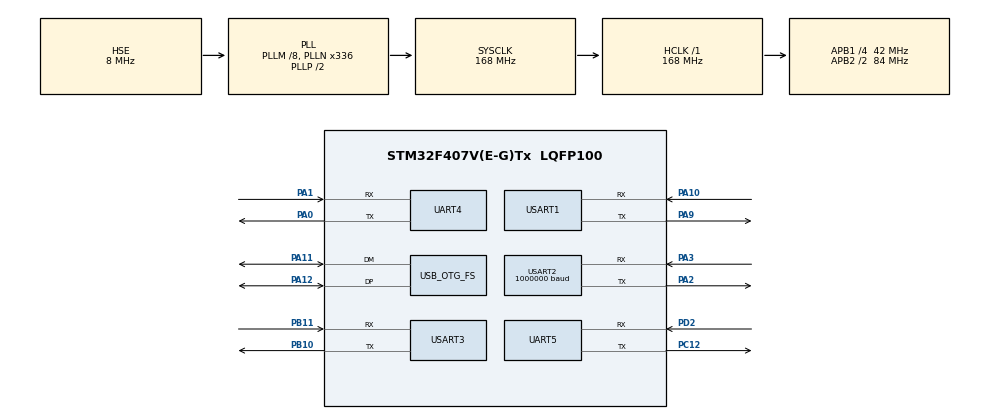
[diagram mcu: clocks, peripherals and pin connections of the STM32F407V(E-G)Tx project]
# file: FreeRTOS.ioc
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Dma.Request0=USART2_RX
Dma.Request1=USART3_RX
Dma.Request2=UART4_RX
Dma.Request3=UART5_RX
Dma.Request4=UART5_TX
Dma.UART4_RX.2.Direction=DMA_PERIPH_TO_MEMORY
Dma.UART4_RX.2.FIFOMode=DMA_FIFOMODE_DISABLE
Dma.UART4_RX.2.Instance=DMA1_Stream2
Dma.UART4_RX.2.MemDataAlignment=DMA_MDATAALIGN_BYTE
Dma.UART4_RX.2.MemInc=DMA_MINC_ENABLE
Dma.UART4_RX.2.Mode=DMA_CIRCULAR
Dma.UART4_RX.2.PeriphDataAlignment=DMA_PDATAALIGN_BYTE
Dma.UART4_RX.2.PeriphInc=DMA_PINC_DISABLE
Dma.UART4_RX.2.Priority=DMA_PRIORITY_HIGH
Dma.UART5_RX.3.Direction=DMA_PERIPH_TO_MEMORY
Dma.UART5_RX.3.FIFOMode=DMA_FIFOMODE_DISABLE
Dma.UART5_RX.3.Instance=DMA1_Stream0
Dma.UART5_RX.3.MemDataAlignment=DMA_MDATAALIGN_BYTE
Dma.UART5_RX.3.MemInc=DMA_MINC_ENABLE
Dma.UART5_RX.3.Mode=DMA_CIRCULAR
Dma.UART5_RX.3.PeriphDataAlignment=DMA_PDATAALIGN_BYTE
Dma.UART5_RX.3.PeriphInc=DMA_PINC_DISABLE
Dma.UART5_RX.3.Priority=DMA_PRIORITY_HIGH
Dma.UART5_TX.4.Direction=DMA_MEMORY_TO_PERIPH
Dma.UART5_TX.4.FIFOMode=DMA_FIFOMODE_DISABLE
Dma.UART5_TX.4.Instance=DMA1_Stream7
Dma.UART5_TX.4.MemDataAlignment=DMA_MDATAALIGN_BYTE
Dma.UART5_TX.4.MemInc=DMA_MINC_ENABLE
Dma.UART5_TX.4.Mode=DMA_CIRCULAR
Dma.UART5_TX.4.PeriphDataAlignment=DMA_PDATAALIGN_BYTE
Dma.UART5_TX.4.PeriphInc=DMA_PINC_DISABLE
Dma.UART5_TX.4.Priority=DMA_PRIORITY_HIGH
Dma.USART2_RX.0.Direction=DMA_PERIPH_TO_MEMORY
Dma.USART2_RX.0.FIFOMode=DMA_FIFOMODE_DISABLE
Dma.USART2_RX.0.Instance=DMA1_Stream5
Dma.USART2_RX.0.MemDataAlignment=DMA_MDATAALIGN_BYTE
Dma.USART2_RX.0.MemInc=DMA_MINC_ENABLE
Dma.USART2_RX.0.Mode=DMA_CIRCULAR
Dma.USART2_RX.0.PeriphDataAlignment=DMA_PDATAALIGN_BYTE
Dma.USART2_RX.0.PeriphInc=DMA_PINC_DISABLE
Dma.USART2_RX.0.Priority=DMA_PRIORITY_HIGH
Dma.USART3_RX.1.Direction=DMA_PERIPH_TO_MEMORY
Dma.USART3_RX.1.FIFOMode=DMA_FIFOMODE_DISABLE
Dma.USART3_RX.1.Instance=DMA1_Stream1
Dma.USART3_RX.1.MemDataAlignment=DMA_MDATAALIGN_BYTE
Dma.USART3_RX.1.MemInc=DMA_MINC_ENABLE
Dma.USART3_RX.1.Mode=DMA_CIRCULAR
Dma.USART3_RX.1.PeriphDataAlignment=DMA_PDATAALIGN_BYTE
Dma.USART3_RX.1.PeriphInc=DMA_PINC_DISABLE
Dma.USART3_RX.1.Priority=DMA_PRIORITY_HIGH
FREERTOS.Mutexes01=ServoUart1Mutex,Dynamic,NULL,Available;ServoUart2Mutex,Dynamic,NULL,Available
FREERTOS.Queues01=CommTxQueue,8,128,1,Dynamic,NULL,NULL;ServoCmdQueue,4,128,1,Dynamic,NULL,NULL
FREERTOS.Tasks01=ServoTask,48,1024,StartServoTask,Default,NULL,Dynamic,NULL,NULL;FeedbackTask,40,512,StartFeedbackTask,Default,NULL,Dynamic,NULL,NULL;CommRxTask,32,512,StartCommRxTask,Default,NULL,Dynamic,NULL,NULL;CommTxTask,24,512,StartCommTxTask,Default,NULL,Dynamic,NULL,NULL
FREERTOS.configTOTAL_HEAP_SIZE=32768
Mcu.Family=STM32F4
Mcu.Name=STM32F407V(E-G)Tx
Mcu.Package=LQFP100
NVIC.DMA1_Stream0_IRQn=true\:5\:0\:false\:false\:true\:true\:false\:true\:true
NVIC.DMA1_Stream1_IRQn=true\:5\:0\:false\:false\:true\:true\:false\:true\:true
NVIC.DMA1_Stream2_IRQn=true\:5\:0\:false\:false\:true\:true\:false\:true\:true
NVIC.DMA1_Stream5_IRQn=true\:5\:0\:false\:false\:true\:true\:false\:true\:true
NVIC.DMA1_Stream7_IRQn=true\:5\:0\:false\:false\:true\:true\:false\:true\:true
NVIC.OTG_FS_IRQn=true\:0\:0\:false\:false\:true\:false\:false\:true\:true
NVIC.PriorityGroup=NVIC_PRIORITYGROUP_4
NVIC.TIM4_IRQn=true\:15\:0\:false\:false\:true\:false\:false\:true\:true
NVIC.TimeBase=TIM4_IRQn
NVIC.TimeBaseIP=TIM4
NVIC.UART4_IRQn=true\:5\:0\:false\:false\:true\:true\:true\:true\:true
NVIC.UART5_IRQn=true\:5\:0\:false\:false\:true\:true\:true\:true\:true
NVIC.USART2_IRQn=true\:5\:0\:false\:false\:true\:true\:true\:true\:true
NVIC.USART3_IRQn=true\:5\:0\:false\:false\:true\:true\:true\:true\:true
PA0-WKUP.Mode=Asynchronous
PA0-WKUP.Signal=UART4_TX
PA1.Mode=Asynchronous
PA1.Signal=UART4_RX
PA10.Mode=Asynchronous
PA10.Signal=USART1_RX
PA11.Mode=Device_Only
PA11.Signal=USB_OTG_FS_DM
PA12.Mode=Device_Only
PA12.Signal=USB_OTG_FS_DP
PA13.Mode=Serial_Wire
PA13.Signal=SYS_JTMS-SWDIO
PA14.Mode=Serial_Wire
PA14.Signal=SYS_JTCK-SWCLK
PA2.Mode=Asynchronous
PA2.Signal=USART2_TX
PA3.Mode=Asynchronous
PA3.Signal=USART2_RX
PA9.Mode=Asynchronous
PA9.Signal=USART1_TX
PB10.Mode=Asynchronous
PB10.Signal=USART3_TX
PB11.Mode=Asynchronous
PB11.Signal=USART3_RX
PC12.Mode=Asynchronous
PC12.Signal=UART5_TX
PD2.Mode=Asynchronous
PD2.Signal=UART5_RX
PH0-OSC_IN.Mode=HSE-External-Oscillator
PH0-OSC_IN.Signal=RCC_OSC_IN
PH1-OSC_OUT.Mode=HSE-External-Oscillator
PH1-OSC_OUT.Signal=RCC_OSC_OUT
ProjectManager.HeapSize=0x200
ProjectManager.StackSize=0x400
ProjectManager.TargetToolchain=MDK-ARM V5.32
RCC.48MHZClocksFreq_Value=48000000
RCC.AHBFreq_Value=168000000
RCC.APB1CLKDivider=RCC_HCLK_DIV4
RCC.APB1Freq_Value=42000000
RCC.APB1TimFreq_Value=84000000
RCC.APB2CLKDivider=RCC_HCLK_DIV2
RCC.APB2Freq_Value=84000000
RCC.APB2TimFreq_Value=168000000
RCC.CortexFreq_Value=168000000
RCC.HCLKFreq_Value=168000000
RCC.HSE_VALUE=8000000
RCC.HSI_VALUE=16000000
RCC.LSE_VALUE=32768
RCC.PLLM=8
RCC.PLLN=336
RCC.PLLQ=7
RCC.SYSCLKFreq_VALUE=168000000
RCC.SYSCLKSource=RCC_SYSCLKSOURCE_PLLCLK
RCC.VCOOutputFreq_Value=336000000
UART4.VirtualMode=Asynchronous
UART5.VirtualMode=Asynchronous
USART1.VirtualMode=VM_ASYNC
USART2.BaudRate=1000000
USART2.VirtualMode=VM_ASYNC
USART3.VirtualMode=VM_ASYNC
USB_DEVICE.CLASS_NAME_FS=CDC
USB_DEVICE.VirtualMode-CDC_FS=Cdc
USB_DEVICE.VirtualModeFS=Cdc_FS
USB_OTG_FS.VirtualMode=Device_Only
VP_FREERTOS_VS_CMSIS_V2.Mode=CMSIS_V2
VP_SYS_VS_tim4.Mode=TIM4
VP_USB_DEVICE_VS_USB_DEVICE_CDC_FS.Mode=CDC_FS
board=custom

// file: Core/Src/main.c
/* USER CODE BEGIN Header */
/**
  ******************************************************************************
  * @file           : main.c
  * @brief          : Main program body
  ******************************************************************************
  * @attention
  *
  * Copyright (c) 2026 STMicroelectronics.
  * All rights reserved.
  *
  * This software is licensed under terms that can be found in the LICENSE file
  * in the root directory of this software component.
  * If no LICENSE file comes with this software, it is provided AS-IS.
  *
  ******************************************************************************
  */
/* USER CODE END Header */
#include "main.h"
#include "cmsis_os.h"
#include "dma.h"
#include "usart.h"
#include "usb_device.h"
#include "gpio.h"

/* USER CODE BEGIN PV */
;
/* USER CODE END PV */

void SystemClock_Config(void);
void MX_FREERTOS_Init(void);

int main(void)
{

  /* MCU Configuration--------------------------------------------------------*/

  /* Reset of all peripherals, Initializes the Flash interface and the Systick. */
  HAL_Init();

  /* Configure the system clock */
  SystemClock_Config();

  /* Initialize all configured peripherals */
  MX_GPIO_Init();
  MX_DMA_Init();
  MX_USART2_UART_Init();
  MX_USART3_UART_Init();
  MX_UART4_Init();
  MX_UART5_Init();
  MX_USART1_UART_Init();
  /* USER CODE BEGIN 2 */
MX_USB_DEVICE_Init();
  /* USER CODE END 2 */

  /* Init scheduler */
  osKernelInitialize();  /* Call init function for freertos objects (in cmsis_os2.c) */
  MX_FREERTOS_Init();

  /* Start scheduler */
  osKernelStart();

  /* We should never get here as control is now taken by the scheduler */

  /* Infinite loop */
  while (1)
  {

  }
}

void SystemClock_Config(void)
{
  RCC_OscInitTypeDef RCC_OscInitStruct = {0};
  RCC_ClkInitTypeDef RCC_ClkInitStruct = {0};

  /** Configure the main internal regulator output voltage
  */
  __HAL_RCC_PWR_CLK_ENABLE();
  __HAL_PWR_VOLTAGESCALING_CONFIG(PWR_REGULATOR_VOLTAGE_SCALE1);

  /** Initializes the RCC Oscillators according to the specified parameters
  * in the RCC_OscInitTypeDef structure.
  */
  RCC_OscInitStruct.OscillatorType = RCC_OSCILLATORTYPE_HSE;
  RCC_OscInitStruct.HSEState = RCC_HSE_ON;
  RCC_OscInitStruct.PLL.PLLState = RCC_PLL_ON;
  RCC_OscInitStruct.PLL.PLLSource = RCC_PLLSOURCE_HSE;
  RCC_OscInitStruct.PLL.PLLM = 8;
  RCC_OscInitStruct.PLL.PLLN = 336;
  RCC_OscInitStruct.PLL.PLLP = RCC_PLLP_DIV2;
  RCC_OscInitStruct.PLL.PLLQ = 7;
  if (HAL_RCC_OscConfig(&RCC_OscInitStruct) != HAL_OK)
  {
    Error_Handler();
  }

  /** Initializes the CPU, AHB and APB buses clocks
  */
  RCC_ClkInitStruct.ClockType = RCC_CLOCKTYPE_HCLK|RCC_CLOCKTYPE_SYSCLK
                              |RCC_CLOCKTYPE_PCLK1|RCC_CLOCKTYPE_PCLK2;
  RCC_ClkInitStruct.SYSCLKSource = RCC_SYSCLKSOURCE_PLLCLK;
  RCC_ClkInitStruct.AHBCLKDivider = RCC_SYSCLK_DIV1;
  RCC_ClkInitStruct.APB1CLKDivider = RCC_HCLK_DIV4;
  RCC_ClkInitStruct.APB2CLKDivider = RCC_HCLK_DIV2;

  if (HAL_RCC_ClockConfig(&RCC_ClkInitStruct, FLASH_LATENCY_5) != HAL_OK)
  {
    Error_Handler();
  }
}

// void HAL_TIM_PeriodElapsedCallback(TIM_HandleTypeDef *htim)
// {
//   /* USER CODE BEGIN Callback 0 */

//   /* USER CODE END Callback 0 */
//   if (htim->Instance == TIM4)
//   {
//     HAL_IncTick();
//   }
//   /* USER CODE BEGIN Callback 1 */

//   /* USER CODE END Callback 1 */
// }

void Error_Handler(void)
{
  /* USER CODE BEGIN Error_Handler_Debug */
  /* User can add his own implementation to report the HAL error return state */
  __disable_irq();
  while (1)
  {
      // Error Handler: Slow Blink (1s ON, 1s OFF)
      HAL_GPIO_TogglePin(GPIOD, GPIO_PIN_13);
      for(volatile int i=0; i<8000000; i++);
  }
  /* USER CODE END Error_Handler_Debug */
}

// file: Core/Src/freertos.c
/* USER CODE BEGIN Header */
/**
  ******************************************************************************
  * File Name          : freertos.c
  * Description        : 强化学习专用同步固件 (RL-Sync Firmware)
  ******************************************************************************
  */
/* USER CODE END Header */

#include "FreeRTOS.h"
#include "task.h"
#include "main.h"
#include "cmsis_os.h"

/* USER CODE BEGIN Includes */
#include "st_servo.h"
#include "usb_cmd_handler.h"
#include "usbd_cdc_if.h"
#include "imu_handler.h"
#include <string.h>
/* USER CODE END Includes */

/* USER CODE BEGIN PTD */
typedef struct __attribute__((packed)) { // <--- 这里也要加！！！
    uint8_t count;
    ServoCtrlParam_t params[MAX_SERVO_COUNT];
} ServoBatch_t;
/* USER CODE END PTD */

/* USER CODE BEGIN Variables */
extern UART_HandleTypeDef huart2;
extern UART_HandleTypeDef huart4;

// 动态检测结果
static uint8_t active_servo_list[18] = {0};
static uint8_t active_servo_count = 0;
/* USER CODE END Variables */

/* Definitions for ServoTask */
osThreadId_t ServoTaskHandle;
const osThreadAttr_t ServoTask_attributes = {
  .name = "ServoTask",
  .stack_size = 1024 * 4,
  .priority = (osPriority_t) osPriorityRealtime,
};
/* Definitions for FeedbackTask */
osThreadId_t FeedbackTaskHandle;
const osThreadAttr_t FeedbackTask_attributes = {
  .name = "FeedbackTask",
  .stack_size = 512 * 4,
  .priority = (osPriority_t) osPriorityHigh,
};
/* Definitions for CommRxTask */
osThreadId_t CommRxTaskHandle;
const osThreadAttr_t CommRxTask_attributes = {
  .name = "CommRxTask",
  .stack_size = 512 * 4,
  .priority = (osPriority_t) osPriorityHigh, // 提升优先级
};
/* Definitions for CommTxTask */
osThreadId_t CommTxTaskHandle;
const osThreadAttr_t CommTxTask_attributes = {
  .name = "CommTxTask",
  .stack_size = 512 * 4,
  .priority = (osPriority_t) osPriorityHigh, // 提升优先级
};
/* Definitions for CommTxQueue */
osMessageQueueId_t CommTxQueueHandle;
const osMessageQueueAttr_t CommTxQueue_attributes = {
  .name = "CommTxQueue"
};
/* Definitions for ServoCmdQueue */
osMessageQueueId_t ServoCmdQueueHandle;
const osMessageQueueAttr_t ServoCmdQueue_attributes = {
  .name = "ServoCmdQueue"
};
/* Definitions for ServoUart1Mutex */
osMutexId_t ServoUart1MutexHandle;
const osMutexAttr_t ServoUart1Mutex_attributes = {
  .name = "ServoUart1Mutex"
};
/* Definitions for ServoUart2Mutex */
osMutexId_t ServoUart2MutexHandle;
const osMutexAttr_t ServoUart2Mutex_attributes = {
  .name = "ServoUart2Mutex"
};

/* USER CODE BEGIN FunctionPrototypes */
extern void MX_USB_DEVICE_Init(void);

// 内部辅助函数：Ping 舵机
static int PingServo(uint8_t id) {
    UART_HandleTypeDef *huart = (id <= 6) ? &huart2 : &huart4;
    uint8_t tx[6] = {0xFF, 0xFF, id, 0x02, INST_PING, 0};
    uint8_t rx[6];

    uint8_t sum = 0;
    int i;
    for(i=2; i<5; i++) sum += tx[i];
    tx[5] = ~sum;

    HAL_UART_Transmit(huart, tx, 6, 2);
    if (HAL_UART_Receive(huart, rx, 6, 2) == HAL_OK) {
        if (rx[0]==0xFF && rx[1]==0xFF && rx[2]==id) return 1;
    }
    return 0;
}

static void ScanServos(void) {
    active_servo_count = 0;
    int id;
    for (id = 1; id <= 12; id++) {
        if (PingServo(id)) {
            active_servo_list[active_servo_count++] = id;
        }
        osDelay(2);
    }
}
/* USER CODE END FunctionPrototypes */

void StartServoTask(void *argument);
void StartFeedbackTask(void *argument);
void StartCommRxTask(void *argument);
void StartCommTxTask(void *argument);

void MX_FREERTOS_Init(void);

void MX_FREERTOS_Init(void) {
  /* USER CODE BEGIN Init */
  IMU_Init();
  /* USER CODE END Init */

  ServoUart1MutexHandle = osMutexNew(&ServoUart1Mutex_attributes);
  ServoUart2MutexHandle = osMutexNew(&ServoUart2Mutex_attributes);

  CommTxQueueHandle = osMessageQueueNew (8, 256, &CommTxQueue_attributes);
  ServoCmdQueueHandle = osMessageQueueNew (4, 256, &ServoCmdQueue_attributes);

  ServoTaskHandle = osThreadNew(StartServoTask, NULL, &ServoTask_attributes);
  FeedbackTaskHandle = osThreadNew(StartFeedbackTask, NULL, &FeedbackTask_attributes);
  CommRxTaskHandle = osThreadNew(StartCommRxTask, NULL, &CommRxTask_attributes);
  CommTxTaskHandle = osThreadNew(StartCommTxTask, NULL, &CommTxTask_attributes);
}

/* USER CODE BEGIN Header_StartServoTask */
void StartServoTask(void *argument)
{
  osDelay(100);
  MX_USB_DEVICE_Init();

  ServoBatch_t cmd;
  uint8_t ids1[6], ids2[6];
  int16_t pos1[6], pos2[6];
  uint16_t time1[6], time2[6];
  uint16_t spd1[6], spd2[6];
  uint8_t acc1[6], acc2[6];

  osDelay(500);

  // === 上电自检：恢复自动扫描模式 ===
  if (osMutexAcquire(ServoUart1MutexHandle, osWaitForever) == osOK) {
      if (osMutexAcquire(ServoUart2MutexHandle, osWaitForever) == osOK) {
          ScanServos();
          osMutexRelease(ServoUart2MutexHandle);
      }
      osMutexRelease(ServoUart1MutexHandle);
  }

  // 只对在线的舵机上锁
  int i;
  for(i=0; i < active_servo_count; i++) {
      uint8_t id = active_servo_list[i];
      UART_HandleTypeDef *huart = (id <= 6) ? &huart2 : &huart4;
      osMutexId_t mutex = (id <= 6) ? ServoUart1MutexHandle : ServoUart2MutexHandle;

      if (osMutexAcquire(mutex, 10) == osOK) {
          ST_SetTorque(huart, id, 1);
          osMutexRelease(mutex);
      }
      osDelay(5);
  }

  for(;;)
  {
      if (osMessageQueueGet(ServoCmdQueueHandle, &cmd, NULL, osWaitForever) == osOK) {
          uint8_t n1 = 0, n2 = 0;
          int j;
          for(j=0; j<cmd.count; j++) {
              if (cmd.params[j].id <= 6) {
                  ids1[n1] = cmd.params[j].id;
                  pos1[n1] = cmd.params[j].pos;
                  time1[n1] = cmd.params[j].time;
                  spd1[n1] = cmd.params[j].speed;
                  acc1[n1] = cmd.params[j].acc;
                  n1++;
              } else {
                  ids2[n2] = cmd.params[j].id;
                  pos2[n2] = cmd.params[j].pos;
                  time2[n2] = cmd.params[j].time;
                  spd2[n2] = cmd.params[j].speed;
                  acc2[n2] = cmd.params[j].acc;
                  n2++;
              }
          }

          if (n1 > 0 && osMutexAcquire(ServoUart1MutexHandle, 5) == osOK) {
              ST_SyncWritePos(&huart2, ids1, n1, pos1, time1, spd1, acc1);
              osMutexRelease(ServoUart1MutexHandle);
          }
          if (n2 > 0 && osMutexAcquire(ServoUart2MutexHandle, 5) == osOK) {
              ST_SyncWritePos(&huart4, ids2, n2, pos2, time2, spd2, acc2);
              osMutexRelease(ServoUart2MutexHandle);
          }
      }
  }
}

/* USER CODE BEGIN Header_StartFeedbackTask */
void StartFeedbackTask(void *argument)
{
  CommPacket_t rl_pkt;
  rl_pkt.type = TYPE_RL_STATE;

  uint8_t *imu_ptr = rl_pkt.data;
  uint8_t *servo_count_ptr = &rl_pkt.data[36];
  ServoFBParam_t *servo_data_ptr = (ServoFBParam_t*)&rl_pkt.data[37];

  // 临时缓冲区 (栈上分配)
  uint8_t group1_ids[6]; uint8_t group1_cnt;
  uint8_t group2_ids[6]; uint8_t group2_cnt;
  uint8_t rx_buf1[72]; // 6 * 12
  uint8_t rx_buf2[72];

  for(;;)
  {
      osDelay(20); // Match the 50Hz deploy loop and reduce bus contention.

      memset(&rl_pkt, 0, sizeof(rl_pkt));
      rl_pkt.type = TYPE_RL_STATE;

      IMU_Parse_Loop();
      memcpy(imu_ptr, &g_imu_data, 36);
      g_imu_data.updated = 0;

      uint8_t fresh_count = 0;

      // 1. 分组 (UART2 <= 6, UART4 > 6)
      group1_cnt = 0; group2_cnt = 0;
      for(int i=0; i<active_servo_count; i++) {
          uint8_t id = active_servo_list[i];
          if (id <= 6) {
              if (group1_cnt < 6) group1_ids[group1_cnt++] = id;
          } else {
              if (group2_cnt < 6) group2_ids[group2_cnt++] = id;
          }
      }

      // 2. 同步读 Group 1 (UART2)
      if (group1_cnt > 0 && osMutexAcquire(ServoUart1MutexHandle, 5) == osOK) {
          memset(rx_buf1, 0, 72);
          if (ST_SyncRead(&huart2, group1_ids, group1_cnt, rx_buf1) == 0) {
              // 解析
              for(int i=0; i<group1_cnt; i++) {
                  int base = i * 12;
                  // 简单校验: Head(FF FF) + ID
                  if (rx_buf1[base] == 0xFF && rx_buf1[base+2] == group1_ids[i]) {
                      uint8_t *p = &rx_buf1[base+5]; // Data start
                      // 查找在 output 数组中的位置
                      for(int k=0; k<active_servo_count; k++) {
                          if (active_servo_list[k] == group1_ids[i]) {
                              servo_data_ptr[fresh_count].id = group1_ids[i];
                              servo_data_ptr[fresh_count].pos = (int16_t)(p[0] | (p[1]<<8));
                              servo_data_ptr[fresh_count].speed = (int16_t)(p[2] | (p[3]<<8));
                              servo_data_ptr[fresh_count].load = (int16_t)(p[4] | (p[5]<<8));
                              // 填充缺失字段 (电流/电压/温度) - 避免Python解析报错
                              servo_data_ptr[fresh_count].current = 0;
                              servo_data_ptr[fresh_count].voltage = 0;
                              servo_data_ptr[fresh_count].temp = 0;
                              fresh_count++;
                              break;
                          }
                      }
                  }
              }
          }
          osMutexRelease(ServoUart1MutexHandle);
      }

      // 3. 同步读 Group 2 (UART4)
      if (group2_cnt > 0 && osMutexAcquire(ServoUart2MutexHandle, 5) == osOK) {
          memset(rx_buf2, 0, 72);
          if (ST_SyncRead(&huart4, group2_ids, group2_cnt, rx_buf2) == 0) {
              for(int i=0; i<group2_cnt; i++) {
                  int base = i * 12;
                  if (rx_buf2[base] == 0xFF && rx_buf2[base+2] == group2_ids[i]) {
                      uint8_t *p = &rx_buf2[base+5];
                      for(int k=0; k<active_servo_count; k++) {
                          if (active_servo_list[k] == group2_ids[i]) {
                              servo_data_ptr[fresh_count].id = group2_ids[i];
                              servo_data_ptr[fresh_count].pos = (int16_t)(p[0] | (p[1]<<8));
                              servo_data_ptr[fresh_count].speed = (int16_t)(p[2] | (p[3]<<8));
                              servo_data_ptr[fresh_count].load = (int16_t)(p[4] | (p[5]<<8));
                              // 填充缺失字段 (电流/电压/温度) - 避免Python解析报错
                              servo_data_ptr[fresh_count].current = 0;
                              servo_data_ptr[fresh_count].voltage = 0;
                              servo_data_ptr[fresh_count].temp = 0;
                              fresh_count++;
                              break;
                          }
                      }
                  }
              }
          }
          osMutexRelease(ServoUart2MutexHandle);
      }

      // ID 填充
      *servo_count_ptr = fresh_count;

      rl_pkt.len = 37 + fresh_count * sizeof(ServoFBParam_t);
      if (fresh_count == 12 && fresh_count == active_servo_count) {
           osMessageQueuePut(CommTxQueueHandle, &rl_pkt, 0, 0);
      }
  }
}
/* USER CODE END Header_StartFeedbackTask */
/* USER CODE BEGIN Header_StartCommRxTask */
void StartCommRxTask(void *argument)
{
  uint8_t byte, state = 0, type = 0, len = 0, idx = 0, checksum = 0;
  uint8_t payload[256];

  for(;;)
  {
      // 1. 等待数据到达信号 (无限等待，不消耗CPU)
      //    只要 USB 中断触发，就会设置 0x01，这里立即醒来
      osThreadFlagsWait(0x01, osFlagsWaitAny, osWaitForever);

      // 2. 批量处理环形缓冲区里的所有数据
      //    数据可能是一个字节，也可能是一整包(64字节)
      while (USB_RingBuffer_Pop(&byte)) {
          switch(state) {
              case 0: if (byte == PROTOCOL_HEAD_1) { state = 1; checksum = byte; } break;
              case 1: if (byte == PROTOCOL_HEAD_2) { state = 2; checksum += byte; } else state = 0; break;
              case 2: type = byte; checksum += byte; state = 3; break;
              case 3: len = byte; checksum += byte; idx = 0;
                      if (len == 0) state = 5; else state = 4; break;
              case 4: payload[idx++] = byte; checksum += byte; if (idx >= len) state = 5; break;
              case 5: if (byte == checksum) {
                          if (type == TYPE_SERVO_CTRL) {
                              ServoBatch_t batch;
                              batch.count = payload[0];
                              if (batch.count <= MAX_SERVO_COUNT) {
                                  memcpy(batch.params, &payload[1], batch.count * sizeof(ServoCtrlParam_t));
                                  osMessageQueuePut(ServoCmdQueueHandle, &batch, 0, 0);
                              }
                          } else if (type == TYPE_TORQUE_CTRL) {
                              uint8_t enable = payload[0];
                              for(int i=0; i < active_servo_count; i++) {
                                  uint8_t id = active_servo_list[i];
                                  UART_HandleTypeDef *huart = (id <= 6) ? &huart2 : &huart4;
                                  osMutexId_t mutex = (id <= 6) ? ServoUart1MutexHandle : ServoUart2MutexHandle;
                                  if (osMutexAcquire(mutex, 10) == osOK) {
                                      ST_SetTorque(huart, id, enable);
                                      osMutexRelease(mutex);
                                  }
                              }
                          } else if (type == TYPE_PING) {
                              CommPacket_t pong;
                              pong.type = TYPE_PING; pong.len = len;
                              memcpy(pong.data, payload, len);
                              // PING 包优先级极高，直接放入队首 (Priority 1)
                              osMessageQueuePut(CommTxQueueHandle, &pong, 1, 0);
                          }
                      }
                      state = 0; break;
          }
      }
  }
}

/* USER CODE BEGIN Header_StartCommTxTask */
void StartCommTxTask(void *argument)
{
  CommPacket_t pkt;
  uint8_t buf[256];
  for(;;)
  {
      // 优先级高的包 (Ping) 会先出队
      if (osMessageQueueGet(CommTxQueueHandle, &pkt, NULL, osWaitForever) == osOK) {
          buf[0] = PROTOCOL_HEAD_1; buf[1] = PROTOCOL_HEAD_2;
          buf[2] = pkt.type; buf[3] = pkt.len;
          memcpy(&buf[4], pkt.data, pkt.len);
          uint8_t sum = 0;
          int i;
          for(i=0; i < (pkt.len + 4); i++) sum += buf[i];
          buf[pkt.len + 4] = sum;

          // === 关键优化: 阻塞式发送 ===
          // 只要 USB 是忙的 (USBD_BUSY)，就一直等，直到发出去为止
          // 这保证了数据不丢失，且 Ping 包不会因为忙而被丢弃
          uint8_t ret = USBD_BUSY;
          while (ret == USBD_BUSY) {
              ret = CDC_Transmit_FS(buf, pkt.len + 5);
              if (ret == USBD_BUSY) {
                  osDelay(1); // 让出 CPU 给 USB 中断去处理发送完成事件
              }
          }
      }
  }
}
